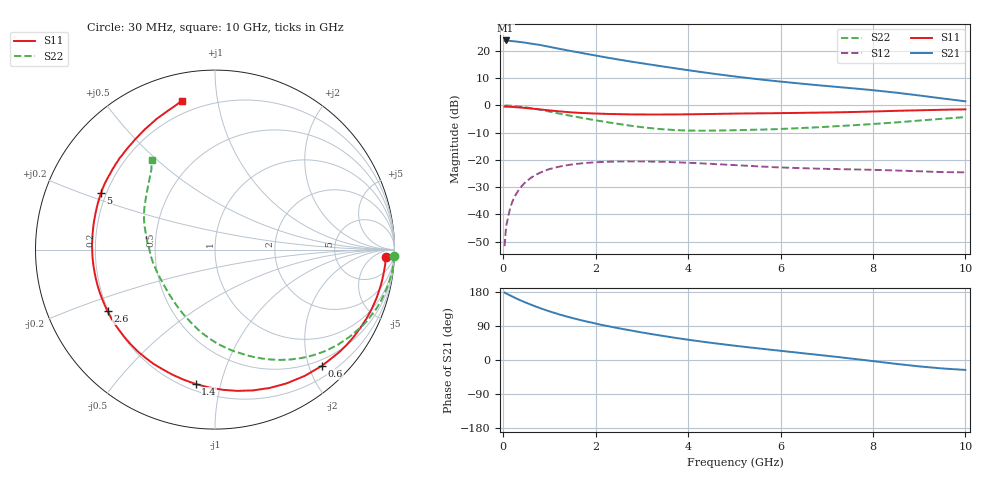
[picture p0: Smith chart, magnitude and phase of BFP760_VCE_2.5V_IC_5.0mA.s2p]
! Infineon Technologies  Discrete & RF Semiconductors
! BFP760
! VCE =  2.5 V,  IC =  5.0 mA
! Common Emitter S-Parameters:  Nov 2012
# GHz  S  MA  R  50
!  f  S11  S21  S12  S22
! GHz  MAG  ANG  MAG  ANG  MAG  ANG  MAG  ANG
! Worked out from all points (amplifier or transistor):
!   99 points, 30 MHz to 10 GHz, reference 50 ohm
!   highest |S21| = 23.9 dB at 50 MHz (marker M1)
!   |S21| within 3 dB of that: start of sweep to 1.195 GHz
!   unconditionally stable (mu >= 1): 6.226 GHz to end of sweep
!   at 350 MHz: K = 0.08, MSG = 27.0 dB, |S12| = -30.7 dB
!   at 3.5 GHz: K = 0.48, MSG = 17.5 dB, |S12| = -20.7 dB
!   at 10 GHz: K = 1.32, MAG = 9.7 dB, |S12| = -24.6 dB
!   S11 on the Smith chart (normalised r, x): 30 MHz: 22, -21; 600 MHz: 0.39, -2.22; 1.4 GHz: 0.24, -0.84; 2.6 GHz: 0.20, -0.26; 5 GHz: 0.18, +0.23; 10 GHz: 0.13, +0.79
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0.03  0.9526 -2.6  15.42 178.0  0.0026 87.0  0.9991 -1.9
0.04  0.9525 -3.4  15.44 177.5  0.0034 82.5  0.999 -2.5
0.05  0.951 -4.1  15.66 176.3  0.0045 99.4  0.9972 -2.9
0.15  0.9446 -12.5  15.37 170.3  0.013 81.9  0.9904 -8.8
0.35  0.9195 -28.4  14.71 158.7  0.0292 72.6  0.958 -20.0
0.5  0.8965 -39.9  14.15 150.9  0.0402 65.9  0.921 -28.0
0.6  0.8801 -47.4  13.71 146.0  0.0469 61.3  0.8929 -33.0
0.8  0.8453 -61.9  12.93 136.7  0.0583 53.3  0.8349 -42.6
0.9  0.829 -68.4  12.44 132.5  0.0635 49.6  0.8037 -47.1
1.1  0.7971 -81.0  11.51 124.6  0.0716 42.7  0.7428 -55.5
1.4  0.7566 -98.2  10.26 113.9  0.0804 34.1  0.6613 -66.6
1.7  0.7277 -113.8  9.222 104.5  0.0864 27.1  0.5913 -76.7
2.1  0.7068 -131.4  7.982 93.4  0.0913 18.8  0.5172 -89.7
2.6  0.6902 -150.1  6.755 81.5  0.0936 10.5  0.4437 -104.4
3  0.6842 -163.2  5.97 72.7  0.0937 4.9  0.3997 -116.5
3.4  0.6833 -174.8  5.297 64.6  0.0924 0.1  0.3693 -128.2
4.1  0.691 168.5  4.335 51.8  0.0879 -6.5  0.3459 -147.8
5  0.709 153.7  3.425 37.9  0.0803 -11.7  0.3511 -166.5
5.1  0.7111 152.3  3.346 36.4  0.0795 -12.0  0.353 -168.2
6.7  0.7372 135.5  2.405 15.1  0.0696 -13.7  0.394 167.8
8.5  0.7973 114.1  1.722 -10.2  0.0639 -14.0  0.4883 141.6
10  0.8501 102.6  1.193 -26.2  0.059 -9.8  0.6123 125.2
